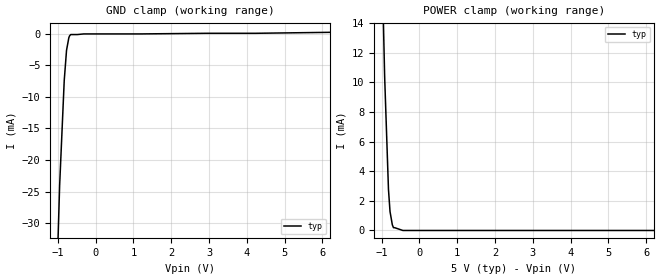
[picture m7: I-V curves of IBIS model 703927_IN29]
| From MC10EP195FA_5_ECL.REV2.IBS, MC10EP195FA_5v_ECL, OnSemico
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| (C) COPYRIGHT 1993-2001
| MENTOR GRAPHICS CORPORATION
| ICX STANDARD LIBRARY, ICX PROJECT MODELING,
| ICX CUSTOM MODELING, ICX VENDOR MODEL
| ALL RIGHTS RESERVED.
| THE FOLLOWING ARE TRADEMARKS OR SERVICE MARKS OF
| MENTOR GRAPHICS CORPORATION:ICX (R), ICX STANDARD
| LIBRARY(R), ICX PROJECT MODELING(R), ICX CUSTOM
| MODELING(R), qualityIBIS(TM), MODELVIEWER(TM),
| AND MODELEDITOR(TM)
| ALL COPIES OF SOFTWARE, INCLUDING BUT NOT LIMITED TO
| ANY MODIFICATIONS, ENHANCEMENTS OR DERIVATIVE WORKS,
| MUST CONTAIN ALL MENTOR GRAPHICS CORPORATION'S
| NOTICES AND LEGENDS, INCLUDING THOSE EMBEDDED IN
| SOFTWARE AND THOSE AFFIXED TO SOFTWARE MEDIUM
| AND CONTAINER, AS RECEIVED FROM MENTOR GRAPHICS
| CORPORATION.
| Model Application Version 1.89 2/18/99.
[Model] 703927_IN29
Model_type Input_ECL
Vinl = 3.455V
Vinh = 3.855V
C_comp 4.000pF NA NA
| variable typ   min   max
[Voltage Range] 5.000V NA NA
[GND Clamp Reference] 0.000V NA NA
[POWER Clamp Reference] 5.000V NA NA
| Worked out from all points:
|   GND clamp passes 1 mA (typ) near -0.72 V on its own axis
|   POWER clamp passes 1 mA (typ) near -0.76 V on its own axis
[GND Clamp]
-5V       -1.019A    NA         NA
-1.054V   -44.3mA    NA         NA
-952mV    -24mA      NA         NA
-831mV    -7.4mA     NA         NA
-770mV    -2.6mA     NA         NA
-709mV    -600uA     NA         NA
-689mV    -300uA     NA         NA
-658.7mV  -100uA     NA         NA
4.237V    100uA      NA         NA
10V       551.2uA    NA         NA
[POWER Clamp]
-5V       575.2mA    NA         NA
-1.061V   26.26mA    NA         NA
-919mV    10.37mA    NA         NA
-818mV    2.776mA    NA         NA
-777mV    1.279mA    NA         NA
-716mV    384.2uA    NA         NA
-685.5mV  189uA      NA         NA
-655mV    189uA      NA         NA
-436.7mV  0A         NA         NA
10V       0A         NA         NA
